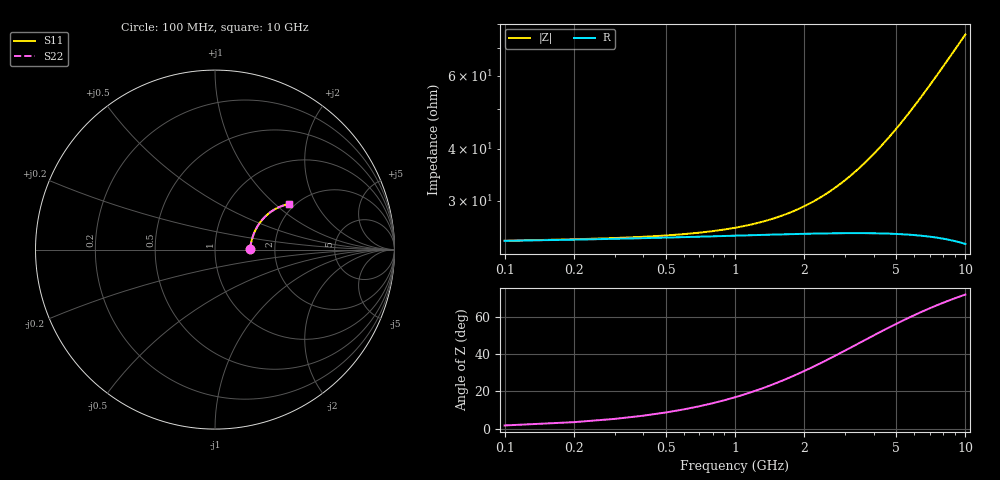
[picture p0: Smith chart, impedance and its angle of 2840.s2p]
# Hz S RI R 50.00
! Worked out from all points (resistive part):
!   100 points, 100 MHz to 10 GHz, reference 50 ohm
!   read as one part in series: R = 24 ohm at 100 MHz
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1e8  0.1938 0.00393  0.8061 -0.00575  0.8061 -0.00575  0.1938 0.00393
7e8  0.1989 0.0271  0.801 -0.0399  0.801 -0.0399  0.1989 0.0271
1e9  0.2013 0.0385  0.7985 -0.0568  0.7985 -0.0568  0.2013 0.0385
1.4e9  0.2049 0.0536  0.7947 -0.0791  0.7947 -0.0791  0.2049 0.0536
1.8e9  0.2092 0.0683  0.7902 -0.1011  0.7902 -0.1011  0.2092 0.0683
2.1e9  0.2129 0.0792  0.7863 -0.1175  0.7863 -0.1175  0.2129 0.0792
2.4e9  0.217 0.0899  0.782 -0.1336  0.782 -0.1336  0.217 0.0899
2.9e9  0.2246 0.1072  0.7738 -0.16  0.7738 -0.16  0.2246 0.1072
3.4e9  0.2333 0.1238  0.7645 -0.1858  0.7645 -0.1858  0.2333 0.1238
4.2e9  0.2493 0.1487  0.7474 -0.2254  0.7474 -0.2254  0.2493 0.1487
4.7e9  0.2605 0.1632  0.7354 -0.249  0.7354 -0.249  0.2605 0.1632
5.1e9  0.2701 0.1741  0.7251 -0.2673  0.7251 -0.2673  0.2701 0.1741
5.5e9  0.2801 0.1844  0.7143 -0.2849  0.7143 -0.2849  0.2801 0.1844
5.9e9  0.2905 0.194  0.703 -0.3019  0.703 -0.3019  0.2905 0.194
6.3e9  0.3014 0.203  0.6913 -0.3183  0.6913 -0.3183  0.3014 0.203
6.7e9  0.3125 0.2113  0.6791 -0.334  0.6791 -0.334  0.3125 0.2113
7.1e9  0.324 0.219  0.6666 -0.3491  0.6666 -0.3491  0.324 0.219
7.5e9  0.3357 0.2259  0.6538 -0.3635  0.6538 -0.3635  0.3357 0.2259
7.9e9  0.3476 0.2322  0.6407 -0.3773  0.6407 -0.3773  0.3476 0.2322
8.4e9  0.3627 0.2391  0.6241 -0.3935  0.6241 -0.3935  0.3627 0.2391
9.2e9  0.3872 0.248  0.5969 -0.4175  0.5969 -0.4175  0.3872 0.248
1e10  0.4118 0.2544  0.5693 -0.4389  0.5693 -0.4389  0.4118 0.2544
